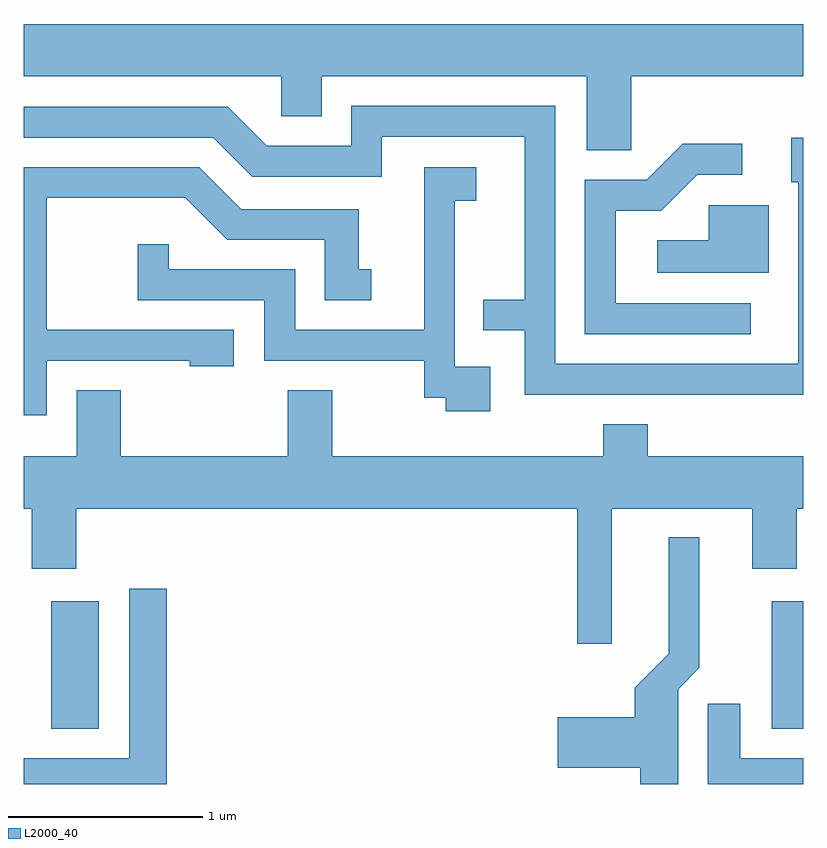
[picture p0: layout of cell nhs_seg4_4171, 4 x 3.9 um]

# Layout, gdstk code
import gdstk
lib = gdstk.Library(unit=1e-6, precision=1e-09)
def R(c, l, rs):  # rectangles x0, y0, x1, y1
    for r in rs: c.add(gdstk.rectangle(r[:2], r[2:], *l))
def P(c, l, *ps):  # polygons
    for p in ps: c.add(gdstk.Polygon(p, *l))
L2000_40 = (2000, 40)

nhs_seg4_4171 = lib.new_cell('nhs_seg4_4171')
R(nhs_seg4_4171, L2000_40, [(307.751,1300.266,307.994,1300.919), (311.451,1300.266,311.611,1300.919)])
P(nhs_seg4_4171, L2000_40, [(310.729,1303.616),(311.611,1303.616),(311.611,1303.884),(307.611,1303.884),(307.611,1303.616),(308.931,1303.616),(308.931,1303.411),(309.139,1303.411),(309.139,1303.616),(310.501,1303.616),(310.501,1303.236),(310.729,1303.236)],
  [(311.611,1303.299),(311.551,1303.299),(311.551,1303.071),(311.586,1303.071),(311.586,1302.139),(310.339,1302.139),(310.339,1303.464),(309.291,1303.464),(309.291,1303.259),(308.857,1303.259),(308.657,1303.459),(307.611,1303.459),(307.611,1303.301),(308.584,1303.301),(308.784,1303.101),(309.449,1303.101),(309.449,1303.306),(310.181,1303.306),(310.181,1302.469),(309.968,1302.469),(309.968,1302.311),(310.181,1302.311),(310.181,1301.981),(311.611,1301.981)],
  [(311.343,1302.449),(310.649,1302.449),(310.649,1302.926),(310.882,1302.926),(311.067,1303.111),(311.298,1303.111),(311.298,1303.269),(310.994,1303.269),(310.809,1303.084),(310.491,1303.084),(310.491,1302.291),(311.343,1302.291)],
  [(310.004,1302.124),(309.824,1302.124),(309.824,1302.976),(309.934,1302.976),(309.934,1303.149),(309.666,1303.149),(309.666,1302.314),(309.004,1302.314),(309.004,1302.624),(308.354,1302.624),(308.354,1302.753),(308.196,1302.753),(308.196,1302.466),(308.846,1302.466),(308.846,1302.156),(309.666,1302.156),(309.666,1301.966),(309.776,1301.966),(309.776,1301.896),(310.004,1301.896)],
  [(307.729,1302.156),(308.461,1302.156),(308.461,1302.126),(308.689,1302.126),(308.689,1302.314),(307.729,1302.314),(307.729,1302.991),(308.439,1302.991),(308.654,1302.776),(309.156,1302.776),(309.156,1302.466),(309.393,1302.466),(309.393,1302.624),(309.329,1302.624),(309.329,1302.934),(308.727,1302.934),(308.512,1303.149),(307.611,1303.149),(307.611,1301.876),(307.729,1301.876)],
  [(311.434,1302.954),(311.126,1302.954),(311.126,1302.774),(310.863,1302.774),(310.863,1302.606),(311.434,1302.606)],
  [(310.629,1301.396),(311.351,1301.396),(311.351,1301.086),(311.579,1301.086),(311.579,1301.396),(311.611,1301.396),(311.611,1301.664),(310.814,1301.664),(310.814,1301.829),(310.586,1301.829),(310.586,1301.664),(309.194,1301.664),(309.194,1302.004),(308.966,1302.004),(308.966,1301.664),(308.109,1301.664),(308.109,1302.004),(307.881,1302.004),(307.881,1301.664),(307.611,1301.664),(307.611,1301.396),(307.651,1301.396),(307.651,1301.086),(307.879,1301.086),(307.879,1301.396),(310.451,1301.396),(310.451,1300.701),(310.629,1300.701)],
  [(310.969,1300.469),(311.079,1300.579),(311.079,1301.248),(310.921,1301.248),(310.921,1300.652),(310.746,1300.477),(310.746,1300.324),(310.351,1300.324),(310.351,1300.066),(310.776,1300.066),(310.776,1299.982),(310.969,1299.982)],
  [(308.344,1300.984),(308.151,1300.984),(308.151,1300.114),(307.611,1300.114),(307.611,1299.982),(308.344,1299.982)],
  [(311.611,1300.114),(311.289,1300.114),(311.289,1300.393),(311.121,1300.393),(311.121,1299.982),(311.611,1299.982)])

lib.write_gds('nhs_seg4_4171.gds')
